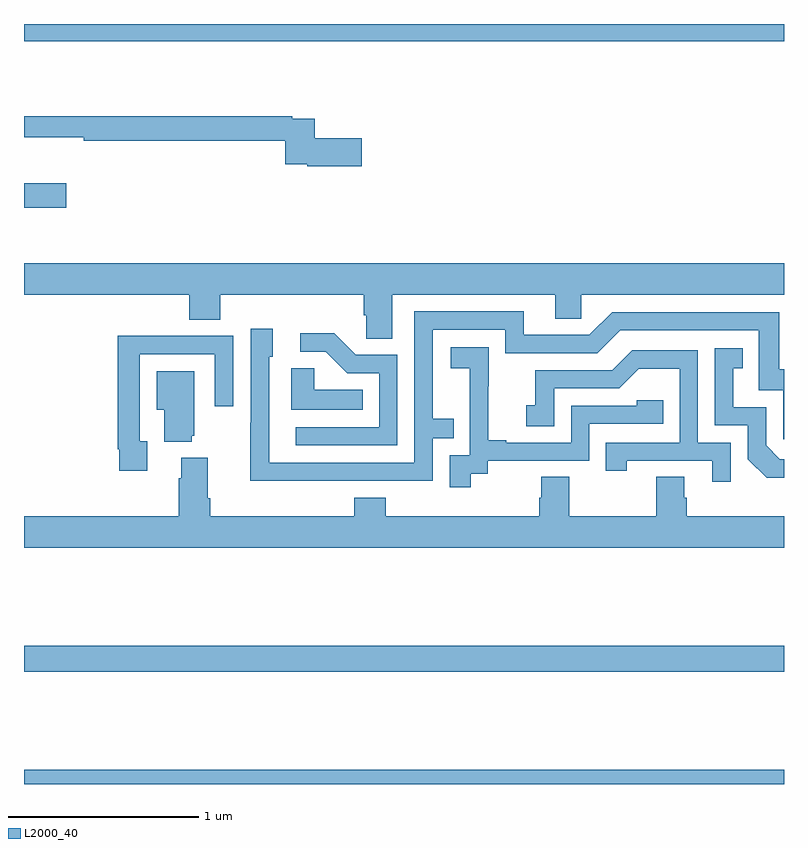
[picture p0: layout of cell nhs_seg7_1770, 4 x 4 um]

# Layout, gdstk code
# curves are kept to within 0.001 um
import gdstk
lib = gdstk.Library(unit=1e-6, precision=1e-09)
def R(c, l, rs):  # rectangles x0, y0, x1, y1
    for r in rs: c.add(gdstk.rectangle(r[:2], r[2:], *l))
def P(c, l, *ps):  # polygons
    for p in ps: c.add(gdstk.Polygon(p, *l))
L2000_40 = (2000, 40)

nhs_seg7_1770 = lib.new_cell('nhs_seg7_1770')
R(nhs_seg7_1770, L2000_40, [(231,1038,235,1038.076), (231,1038.592,235,1038.728), (231,1041.034,231.223,1041.163), (231,1041.908,235,1042)])
P(nhs_seg7_1770, L2000_40, [(232.777,1041.398),(232.529,1041.398),(232.529,1041.501),(232.412,1041.501),(232.412,1041.514),(231,1041.514),(231,1041.403),(231.315,1041.403),(231.315,1041.385),(232.376,1041.385),(232.376,1041.263),(232.492,1041.263),(232.492,1041.251),(232.777,1041.251)],
  [(232.939,1040.576),(233.795,1040.576),(233.795,1040.449),(233.934,1040.449),(233.934,1040.576),(235,1040.576),(235,1040.74),(231,1040.74),(231,1040.576),(231.869,1040.576),(231.869,1040.443),(232.034,1040.443),(232.034,1040.576),(232.787,1040.576),(232.787,1040.467),(232.8,1040.467),(232.8,1040.344),(232.939,1040.344)],
  [(232.655,1039.596),(233.151,1039.596),(233.151,1039.821),(233.261,1039.821),(233.261,1039.922),(233.151,1039.922),(233.151,1040.391),(233.532,1040.391),(233.532,1040.268),(234.018,1040.268),(234.138,1040.388),(234.867,1040.388),(234.867,1040.073),(234.996,1040.073),(234.996,1039.815),(235,1039.815),(235,1040.182),(234.976,1040.182),(234.976,1040.484),(234.096,1040.484),(233.976,1040.364),(233.629,1040.364),(233.629,1040.487),(233.055,1040.487),(233.055,1039.692),(232.29,1039.692),(232.29,1040.25),(232.309,1040.25),(232.309,1040.395),(232.194,1040.395),(232.194,1039.901),(232.192,1039.901),(232.192,1039.595)],
  [(232.965,1040.259),(232.746,1040.259),(232.633,1040.372),(232.455,1040.372),(232.455,1040.274),(232.589,1040.274),(232.7,1040.163),(232.869,1040.163),(232.869,1039.878),(232.431,1039.878),(232.431,1039.782),(232.965,1039.782)],
  [(231.649,1039.805),(231.609,1039.805),(231.609,1040.262),(232.005,1040.262),(232.005,1039.989),(232.101,1039.989),(232.101,1040.358),(231.785,1040.358),(231.785,1040.36),(231.493,1040.36),(231.493,1039.762),(231.501,1039.762),(231.501,1039.65),(231.649,1039.65)],
  [(233.35,1039.632),(233.442,1039.632),(233.442,1039.701),(233.976,1039.701),(233.976,1039.896),(234.365,1039.896),(234.365,1040.019),(234.225,1040.019),(234.225,1039.992),(233.88,1039.992),(233.88,1039.797),(233.539,1039.797),(233.539,1039.81),(233.444,1039.81),(233.444,1040.093),(233.445,1040.093),(233.445,1040.299),(233.247,1040.299),(233.247,1040.189),(233.345,1040.189),(233.345,1039.961),(233.346,1039.961),(233.346,1039.731),(233.241,1039.731),(233.241,1039.563),(233.35,1039.563)],
  [(235,1039.71),(234.978,1039.71),(234.906,1039.782),(234.906,1039.983),(234.733,1039.983),(234.733,1040.187),(234.782,1040.187),(234.782,1040.293),(234.636,1040.293),(234.636,1039.887),(234.81,1039.887),(234.81,1039.71),(234.908,1039.613),(235,1039.613)],
  [(234.72,1039.797),(234.546,1039.797),(234.546,1040.283),(234.2,1040.283),(234.095,1040.178),(233.692,1040.178),(233.692,1039.993),(233.643,1039.993),(233.643,1039.884),(233.79,1039.884),(233.79,1040.082),(234.132,1040.082),(234.236,1040.186),(234.45,1040.186),(234.45,1039.797),(234.061,1039.797),(234.061,1039.65),(234.172,1039.65),(234.172,1039.701),(234.623,1039.701),(234.623,1039.59),(234.72,1039.59)],
  [(232.784,1040.074),(232.527,1040.074),(232.527,1040.189),(232.406,1040.189),(232.406,1039.97),(232.784,1039.97)],
  [(231.884,1039.833),(231.895,1039.833),(231.895,1040.173),(231.698,1040.173),(231.698,1039.97),(231.737,1039.97),(231.737,1039.802),(231.884,1039.802)],
  [(235,1039.408),(234.488,1039.408),(234.488,1039.506),(234.475,1039.506),(234.475,1039.616),(234.328,1039.616),(234.328,1039.408),(233.871,1039.408),(233.871,1039.616),(233.723,1039.616),(233.723,1039.506),(233.711,1039.506),(233.711,1039.408),(232.904,1039.408),(232.904,1039.507),(232.739,1039.507),(232.739,1039.408),(231.98,1039.408),(231.98,1039.504),(231.967,1039.504),(231.967,1039.717),(231.827,1039.717),(231.827,1039.61),(231.815,1039.61),(231.815,1039.408),(231,1039.408),(231,1039.244),(235,1039.244)])

lib.write_gds('nhs_seg7_1770.gds')
